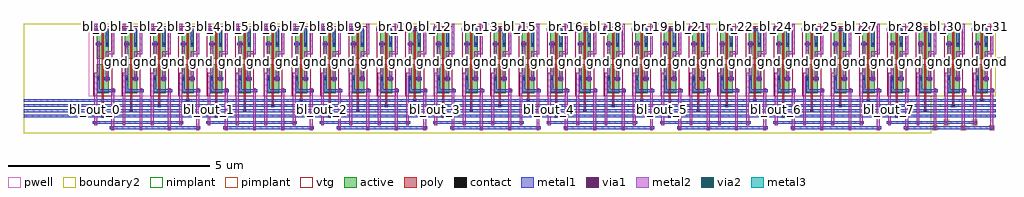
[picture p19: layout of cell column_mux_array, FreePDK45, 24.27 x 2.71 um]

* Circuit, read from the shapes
.subckt column_mux_array bl_0 bl_1 bl_10 bl_11 bl_12 bl_13 bl_14 bl_15 bl_16 bl_17 bl_18 bl_19 bl_2 bl_20 bl_21 bl_22 bl_23 bl_24 bl_25 bl_26 bl_27 bl_28 bl_29 bl_3 bl_30 bl_31 bl_4 bl_5 bl_6 bl_7 bl_8 bl_9 bl_out_0 bl_out_1 bl_out_2 bl_out_3 bl_out_4 bl_out_5 bl_out_6 bl_out_7 br_0 br_1 br_10 br_11 br_12 br_13 br_14 br_15 br_16 br_17 br_18 br_19 br_2 br_20 br_21 br_22 br_23 br_24 br_25 br_26 br_27 br_28 br_29 br_3 br_30 br_31 br_4 br_5 br_6 br_7 br_8 br_9 br_out_0 br_out_1 br_out_2 br_out_3 br_out_4 br_out_5 br_out_6 br_out_7 gnd sel_0 sel_1 sel_2 sel_3
M1 br_0 sel_0 br_out_0 gnd nfet w=0.72u l=0.05u
M2 bl_0 sel_0 bl_out_0 gnd nfet w=0.72u l=0.05u
M3 br_1 sel_1 br_out_0 gnd nfet w=0.72u l=0.05u
M4 bl_1 sel_1 bl_out_0 gnd nfet w=0.72u l=0.05u
M5 br_2 sel_2 br_out_0 gnd nfet w=0.72u l=0.05u
M6 bl_2 sel_2 bl_out_0 gnd nfet w=0.72u l=0.05u
M7 br_3 sel_3 br_out_0 gnd nfet w=0.72u l=0.05u
M8 bl_3 sel_3 bl_out_0 gnd nfet w=0.72u l=0.05u
M9 br_4 sel_0 br_out_1 gnd nfet w=0.72u l=0.05u
M10 bl_4 sel_0 bl_out_1 gnd nfet w=0.72u l=0.05u
M11 br_5 sel_1 br_out_1 gnd nfet w=0.72u l=0.05u
M12 bl_5 sel_1 bl_out_1 gnd nfet w=0.72u l=0.05u
M13 br_6 sel_2 br_out_1 gnd nfet w=0.72u l=0.05u
M14 bl_6 sel_2 bl_out_1 gnd nfet w=0.72u l=0.05u
M15 br_7 sel_3 br_out_1 gnd nfet w=0.72u l=0.05u
M16 bl_7 sel_3 bl_out_1 gnd nfet w=0.72u l=0.05u
M17 br_8 sel_0 br_out_2 gnd nfet w=0.72u l=0.05u
M18 bl_8 sel_0 bl_out_2 gnd nfet w=0.72u l=0.05u
M19 br_9 sel_1 br_out_2 gnd nfet w=0.72u l=0.05u
M20 bl_9 sel_1 bl_out_2 gnd nfet w=0.72u l=0.05u
M21 br_10 sel_2 br_out_2 gnd nfet w=0.72u l=0.05u
M22 bl_10 sel_2 bl_out_2 gnd nfet w=0.72u l=0.05u
M23 br_11 sel_3 br_out_2 gnd nfet w=0.72u l=0.05u
M24 bl_11 sel_3 bl_out_2 gnd nfet w=0.72u l=0.05u
M25 br_12 sel_0 br_out_3 gnd nfet w=0.72u l=0.05u
M26 bl_12 sel_0 bl_out_3 gnd nfet w=0.72u l=0.05u
M27 br_13 sel_1 br_out_3 gnd nfet w=0.72u l=0.05u
M28 bl_13 sel_1 bl_out_3 gnd nfet w=0.72u l=0.05u
M29 br_14 sel_2 br_out_3 gnd nfet w=0.72u l=0.05u
M30 bl_14 sel_2 bl_out_3 gnd nfet w=0.72u l=0.05u
M31 br_15 sel_3 br_out_3 gnd nfet w=0.72u l=0.05u
M32 bl_15 sel_3 bl_out_3 gnd nfet w=0.72u l=0.05u
M33 br_16 sel_0 br_out_4 gnd nfet w=0.72u l=0.05u
M34 bl_16 sel_0 bl_out_4 gnd nfet w=0.72u l=0.05u
M35 br_17 sel_1 br_out_4 gnd nfet w=0.72u l=0.05u
M36 bl_17 sel_1 bl_out_4 gnd nfet w=0.72u l=0.05u
M37 br_18 sel_2 br_out_4 gnd nfet w=0.72u l=0.05u
M38 bl_18 sel_2 bl_out_4 gnd nfet w=0.72u l=0.05u
M39 br_19 sel_3 br_out_4 gnd nfet w=0.72u l=0.05u
M40 bl_19 sel_3 bl_out_4 gnd nfet w=0.72u l=0.05u
M41 br_20 sel_0 br_out_5 gnd nfet w=0.72u l=0.05u
M42 bl_20 sel_0 bl_out_5 gnd nfet w=0.72u l=0.05u
M43 br_21 sel_1 br_out_5 gnd nfet w=0.72u l=0.05u
M44 bl_21 sel_1 bl_out_5 gnd nfet w=0.72u l=0.05u
M45 br_22 sel_2 br_out_5 gnd nfet w=0.72u l=0.05u
M46 bl_22 sel_2 bl_out_5 gnd nfet w=0.72u l=0.05u
M47 br_23 sel_3 br_out_5 gnd nfet w=0.72u l=0.05u
M48 bl_23 sel_3 bl_out_5 gnd nfet w=0.72u l=0.05u
M49 br_24 sel_0 br_out_6 gnd nfet w=0.72u l=0.05u
M50 bl_24 sel_0 bl_out_6 gnd nfet w=0.72u l=0.05u
M51 br_25 sel_1 br_out_6 gnd nfet w=0.72u l=0.05u
M52 bl_25 sel_1 bl_out_6 gnd nfet w=0.72u l=0.05u
M53 br_26 sel_2 br_out_6 gnd nfet w=0.72u l=0.05u
M54 bl_26 sel_2 bl_out_6 gnd nfet w=0.72u l=0.05u
M55 br_27 sel_3 br_out_6 gnd nfet w=0.72u l=0.05u
M56 bl_27 sel_3 bl_out_6 gnd nfet w=0.72u l=0.05u
M57 br_28 sel_0 br_out_7 gnd nfet w=0.72u l=0.05u
M58 bl_28 sel_0 bl_out_7 gnd nfet w=0.72u l=0.05u
M59 br_29 sel_1 br_out_7 gnd nfet w=0.72u l=0.05u
M60 bl_29 sel_1 bl_out_7 gnd nfet w=0.72u l=0.05u
M61 br_30 sel_2 br_out_7 gnd nfet w=0.72u l=0.05u
M62 bl_30 sel_2 bl_out_7 gnd nfet w=0.72u l=0.05u
M63 br_31 sel_3 br_out_7 gnd nfet w=0.72u l=0.05u
M64 bl_31 sel_3 bl_out_7 gnd nfet w=0.72u l=0.05u
.ends

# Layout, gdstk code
import gdstk
lib = gdstk.Library(unit=1e-6, precision=5e-10)
def R(c, l, rs):  # rectangles x0, y0, x1, y1
    for r in rs: c.add(gdstk.rectangle(r[:2], r[2:], *l))
def A(c, l, x, y, w, h, nx, ny, dx, dy):  # array of equal rectangles
    R(c, l, [(x+i*dx, y+j*dy, x+i*dx+w, y+j*dy+h) for i in range(nx) for j in range(ny)])
active = (1, 0)
pwell = (2, 0)
nimplant = (4, 0)
pimplant = (5, 0)
vtg = (6, 0)
poly = (9, 0)
contact = (10, 0)
metal1 = (11, 0)
via1 = (12, 0)
metal2 = (13, 0)
via2 = (14, 0)
metal3 = (15, 0)
boundary2 = (239, 0)

contact_9 = lib.new_cell('contact_9')
R(contact_9, active, [(0,0.0225,0.09,0.1125)])
R(contact_9, pwell, [(-0.055,-0.0325,0.145,0.1675)])
R(contact_9, nimplant, [(0,0.0225,0.09,0.1125)])
R(contact_9, contact, [(0.0125,0.035,0.0775,0.1)])
R(contact_9, metal1, [(0.0125,0,0.0775,0.135)])
R(contact_9, boundary2, [(-0.055,-0.0325,0.145,0.1675)])

nmos_m1_w0_720_sm1_dm1 = lib.new_cell('nmos_m1_w0_720_sm1_dm1')
R(nmos_m1_w0_720_sm1_dm1, active, [(0,0,0.305,0.72)])
R(nmos_m1_w0_720_sm1_dm1, pwell, [(-0.08,-0.08,0.385,0.8)])
R(nmos_m1_w0_720_sm1_dm1, nimplant, [(0,0,0.305,0.72)])
R(nmos_m1_w0_720_sm1_dm1, vtg, [(-0.08,-0.08,0.385,0.8)])
R(nmos_m1_w0_720_sm1_dm1, poly, [(0.1275,-0.055,0.1775,0.775), (0.1275,-0.055,0.1775,0.775)])
R(nmos_m1_w0_720_sm1_dm1, metal1, [(0.0125,0.2925,0.0775,0.4275), (0.2275,0.2925,0.2925,0.4275)])
R(nmos_m1_w0_720_sm1_dm1, boundary2, [(-0.08,-0.08,0.385,0.8)])
nmos_m1_w0_720_sm1_dm1.add(gdstk.Reference(contact_9, (0,0.2925)))
nmos_m1_w0_720_sm1_dm1.add(gdstk.Reference(contact_9, (0.215,0.2925)))
nmos_m1_w0_720_sm1_dm1.add(gdstk.Label('S', (0.045,0.36), layer=11, texttype=0))
nmos_m1_w0_720_sm1_dm1.add(gdstk.Label('D', (0.26,0.36), layer=11, texttype=0))
nmos_m1_w0_720_sm1_dm1.add(gdstk.Label('G', (0.1525,0.36), layer=9, texttype=0))

contact_6 = lib.new_cell('contact_6')
R(contact_6, metal1, [(0,0.035,0.135,0.1)])
R(contact_6, via1, [(0.035,0.035,0.1,0.1)])
R(contact_6, metal2, [(0.0325,0,0.1025,0.135)])
R(contact_6, boundary2, [(0,0,0.135,0.135)])

contact_21 = lib.new_cell('contact_21')
R(contact_21, active, [(0.0225,0,0.1125,0.09)])
R(contact_21, pwell, [(-0.0325,-0.055,0.1675,0.145)])
R(contact_21, pimplant, [(0.0225,0,0.1125,0.09)])
R(contact_21, contact, [(0.035,0.0125,0.1,0.0775)])
R(contact_21, metal1, [(0,0.0125,0.135,0.0775)])
R(contact_21, boundary2, [(-0.0325,-0.055,0.1675,0.145)])

contact_7 = lib.new_cell('contact_7')
R(contact_7, metal2, [(0.035,0,0.105,0.14)])
R(contact_7, via2, [(0.035,0.035,0.105,0.105)])
R(contact_7, metal3, [(0,0.035,0.14,0.105)])
R(contact_7, boundary2, [(0,0,0.14,0.14)])

column_mux = lib.new_cell('column_mux')
R(column_mux, pwell, [(0,0,0.705,1.8)])
R(column_mux, poly, [(0.3275,0.025,0.3775,0.08), (0.3275,0.8,0.3775,0.94)])
R(column_mux, metal1, [(0.2125,0.1075,0.2775,0.1725), (0.245,0.1075,0.6,0.1725), (0.2125,0.14,0.2775,0.44), (0.4275,1.3,0.4925,1.66), (0.14,1.6275,0.46,1.6925), (0.4275,1.6275,0.4925,1.6925)])
A(column_mux, metal2, 0.14, 0.515, 0.07, 0.07, 3, 1, 0.035, 0)
R(column_mux, metal2, [(0.14,0,0.21,0.14), (0.565,0,0.635,0.14), (0.14,0.14,0.21,0.55), (0.425,0.44,0.495,1.085), (0.21,0.55,0.28,1.3), (0.425,1.05,0.495,1.12), (0.46,1.05,0.6,1.12), (0.565,1.05,0.635,1.12), (0.565,1.085,0.635,1.66), (0.14,1.66,0.21,1.8), (0.565,1.66,0.635,1.8)])
R(column_mux, metal3, [(0.635,0.8,0.775,0.94)])
R(column_mux, boundary2, [(0,0,0.705,1.8)])
column_mux.add(gdstk.Reference(nmos_m1_w0_720_sm1_dm1, (0.2,0.08)))
column_mux.add(gdstk.Reference(nmos_m1_w0_720_sm1_dm1, (0.2,0.94)))
column_mux.add(gdstk.Reference(contact_6, (0.1075,1.5925)))
column_mux.add(gdstk.Reference(contact_6, (0.5325,0.0725)))
column_mux.add(gdstk.Reference(contact_6, (0.1775,1.2325)))
column_mux.add(gdstk.Reference(contact_6, (0.3925,0.3725)))
column_mux.add(gdstk.Reference(contact_21, (0.6375,0.825)))
column_mux.add(gdstk.Reference(contact_6, (0.6375,0.8025)))
column_mux.add(gdstk.Reference(contact_6, (0.6375,0.8025)))
column_mux.add(gdstk.Reference(contact_7, (0.635,0.8)))
column_mux.add(gdstk.Label('bl', (0.175,1.73), layer=13, texttype=0))
column_mux.add(gdstk.Label('br', (0.6,1.73), layer=13, texttype=0))
column_mux.add(gdstk.Label('bl_out', (0.175,0.07), layer=13, texttype=0))
column_mux.add(gdstk.Label('br_out', (0.6,0.07), layer=13, texttype=0))
column_mux.add(gdstk.Label('gnd', (0.705,0.87), layer=15, texttype=0))
column_mux.add(gdstk.Label('sel', (0.3525,0.0525), layer=9, texttype=0))

contact_22 = lib.new_cell('contact_22')
R(contact_22, poly, [(0.03,0,0.105,0.075)])
R(contact_22, contact, [(0.035,0.005,0.1,0.07)])
R(contact_22, metal1, [(0,0.005,0.135,0.07)])
R(contact_22, boundary2, [(0,0,0.135,0.075)])

contact_14 = lib.new_cell('contact_14')
R(contact_14, metal1, [(0,0.035,0.135,0.1)])
R(contact_14, via1, [(0.035,0.035,0.1,0.1)])
R(contact_14, metal2, [(0.0325,0,0.1025,0.135)])
R(contact_14, boundary2, [(0,0,0.135,0.135)])

column_mux_array = lib.new_cell('column_mux_array')
R(column_mux_array, pwell, [(1.605,0.91,24.165,2.71)])
A(column_mux_array, poly, 1.9325, 0.4225, 0.05, 0.5125, 8, 1, 2.82, 0)
A(column_mux_array, poly, 2.6375, 0.5525, 0.05, 0.3825, 8, 1, 2.82, 0)
A(column_mux_array, poly, 3.3425, 0.6825, 0.05, 0.2525, 8, 1, 2.82, 0)
A(column_mux_array, poly, 4.0475, 0.8125, 0.05, 0.1225, 8, 1, 2.82, 0)
A(column_mux_array, metal1, 2.205, 0.0975, 2.115, 0.065, 8, 1, 2.82, 0)
A(column_mux_array, metal1, 1.78, 0.2275, 2.115, 0.065, 8, 1, 2.82, 0)
A(column_mux_array, metal1, 0, 0.39, 24.165, 0.065, 1, 4, 0, 0.13)
A(column_mux_array, metal2, 2.17, 0.13, 0.07, 0.78, 32, 1, 0.705, 0)
A(column_mux_array, metal2, 1.745, 0.26, 0.07, 0.65, 32, 1, 0.705, 0)
R(column_mux_array, metal2, [(1.745,2.57,1.815,2.71), (2.17,2.57,2.24,2.71), (2.45,2.57,2.52,2.71), (2.875,2.57,2.945,2.71), (3.155,2.57,3.225,2.71), (3.58,2.57,3.65,2.71), (3.86,2.57,3.93,2.71), (4.285,2.57,4.355,2.71), (4.565,2.57,4.635,2.71), (4.99,2.57,5.06,2.71), (5.27,2.57,5.34,2.71), (5.695,2.57,5.765,2.71), (5.975,2.57,6.045,2.71), (6.4,2.57,6.47,2.71), (6.68,2.57,6.75,2.71), (7.105,2.57,7.175,2.71), (7.385,2.57,7.455,2.71), (7.81,2.57,7.88,2.71), (8.09,2.57,8.16,2.71), (8.515,2.57,8.585,2.71), (8.795,2.57,8.865,2.71), (9.22,2.57,9.29,2.71), (9.5,2.57,9.57,2.71), (9.925,2.57,9.995,2.71), (10.205,2.57,10.275,2.71), (10.63,2.57,10.7,2.71), (10.91,2.57,10.98,2.71), (11.335,2.57,11.405,2.71), (11.615,2.57,11.685,2.71), (12.04,2.57,12.11,2.71), (12.32,2.57,12.39,2.71), (12.745,2.57,12.815,2.71), (13.025,2.57,13.095,2.71), (13.45,2.57,13.52,2.71), (13.73,2.57,13.8,2.71), (14.155,2.57,14.225,2.71), (14.435,2.57,14.505,2.71), (14.86,2.57,14.93,2.71), (15.14,2.57,15.21,2.71), (15.565,2.57,15.635,2.71), (15.845,2.57,15.915,2.71), (16.27,2.57,16.34,2.71), (16.55,2.57,16.62,2.71), (16.975,2.57,17.045,2.71), (17.255,2.57,17.325,2.71), (17.68,2.57,17.75,2.71), (17.96,2.57,18.03,2.71), (18.385,2.57,18.455,2.71), (18.665,2.57,18.735,2.71), (19.09,2.57,19.16,2.71), (19.37,2.57,19.44,2.71), (19.795,2.57,19.865,2.71), (20.075,2.57,20.145,2.71), (20.5,2.57,20.57,2.71), (20.78,2.57,20.85,2.71), (21.205,2.57,21.275,2.71), (21.485,2.57,21.555,2.71), (21.91,2.57,21.98,2.71), (22.19,2.57,22.26,2.71), (22.615,2.57,22.685,2.71), (22.895,2.57,22.965,2.71), (23.32,2.57,23.39,2.71), (23.6,2.57,23.67,2.71), (24.025,2.57,24.095,2.71)])
A(column_mux_array, metal3, 2.24, 1.71, 0.14, 0.14, 32, 1, 0.705, 0)
R(column_mux_array, boundary2, [(0,0,22.56,2.71)])
column_mux_array.add(gdstk.Reference(column_mux, (12.18,0.91)))
column_mux_array.add(gdstk.Reference(column_mux, (12.885,0.91)))
column_mux_array.add(gdstk.Reference(column_mux, (13.59,0.91)))
column_mux_array.add(gdstk.Reference(column_mux, (14.295,0.91)))
column_mux_array.add(gdstk.Reference(column_mux, (15,0.91)))
column_mux_array.add(gdstk.Reference(column_mux, (15.705,0.91)))
column_mux_array.add(gdstk.Reference(column_mux, (16.41,0.91)))
column_mux_array.add(gdstk.Reference(column_mux, (17.115,0.91)))
column_mux_array.add(gdstk.Reference(column_mux, (17.82,0.91)))
column_mux_array.add(gdstk.Reference(column_mux, (18.525,0.91)))
column_mux_array.add(gdstk.Reference(column_mux, (19.23,0.91)))
column_mux_array.add(gdstk.Reference(column_mux, (19.935,0.91)))
column_mux_array.add(gdstk.Reference(column_mux, (20.64,0.91)))
column_mux_array.add(gdstk.Reference(column_mux, (21.345,0.91)))
column_mux_array.add(gdstk.Reference(column_mux, (22.05,0.91)))
column_mux_array.add(gdstk.Reference(column_mux, (22.755,0.91)))
column_mux_array.add(gdstk.Reference(column_mux, (23.46,0.91)))
column_mux_array.add(gdstk.Reference(contact_22, (13.17,0.385)))
column_mux_array.add(gdstk.Reference(contact_22, (13.875,0.515)))
column_mux_array.add(gdstk.Reference(contact_22, (14.58,0.645)))
column_mux_array.add(gdstk.Reference(contact_22, (15.285,0.775)))
column_mux_array.add(gdstk.Reference(contact_22, (15.99,0.385)))
column_mux_array.add(gdstk.Reference(contact_22, (16.695,0.515)))
column_mux_array.add(gdstk.Reference(contact_22, (17.4,0.645)))
column_mux_array.add(gdstk.Reference(contact_22, (18.105,0.775)))
column_mux_array.add(gdstk.Reference(contact_22, (18.81,0.385)))
column_mux_array.add(gdstk.Reference(contact_22, (19.515,0.515)))
column_mux_array.add(gdstk.Reference(contact_22, (20.22,0.645)))
column_mux_array.add(gdstk.Reference(contact_22, (20.925,0.775)))
column_mux_array.add(gdstk.Reference(contact_22, (21.63,0.385)))
column_mux_array.add(gdstk.Reference(contact_22, (22.335,0.515)))
column_mux_array.add(gdstk.Reference(contact_22, (23.04,0.645)))
column_mux_array.add(gdstk.Reference(contact_22, (23.745,0.775)))
column_mux_array.add(gdstk.Reference(contact_14, (12.9925,0.1925)))
column_mux_array.add(gdstk.Reference(contact_14, (13.4175,0.0625)))
column_mux_array.add(gdstk.Reference(contact_14, (13.6975,0.1925)))
column_mux_array.add(gdstk.Reference(contact_14, (14.1225,0.0625)))
column_mux_array.add(gdstk.Reference(contact_14, (14.4025,0.1925)))
column_mux_array.add(gdstk.Reference(contact_14, (14.8275,0.0625)))
column_mux_array.add(gdstk.Reference(contact_14, (15.1075,0.1925)))
column_mux_array.add(gdstk.Reference(contact_14, (15.5325,0.0625)))
column_mux_array.add(gdstk.Reference(contact_14, (15.8125,0.1925)))
column_mux_array.add(gdstk.Reference(contact_14, (16.2375,0.0625)))
column_mux_array.add(gdstk.Reference(contact_14, (16.5175,0.1925)))
column_mux_array.add(gdstk.Reference(contact_14, (16.9425,0.0625)))
column_mux_array.add(gdstk.Reference(contact_14, (17.2225,0.1925)))
column_mux_array.add(gdstk.Reference(contact_14, (17.6475,0.0625)))
column_mux_array.add(gdstk.Reference(contact_14, (17.9275,0.1925)))
column_mux_array.add(gdstk.Reference(contact_14, (18.3525,0.0625)))
column_mux_array.add(gdstk.Reference(contact_14, (18.6325,0.1925)))
column_mux_array.add(gdstk.Reference(contact_14, (19.0575,0.0625)))
column_mux_array.add(gdstk.Reference(contact_14, (19.3375,0.1925)))
column_mux_array.add(gdstk.Reference(contact_14, (19.7625,0.0625)))
column_mux_array.add(gdstk.Reference(contact_14, (20.0425,0.1925)))
column_mux_array.add(gdstk.Reference(contact_14, (20.4675,0.0625)))
column_mux_array.add(gdstk.Reference(contact_14, (20.7475,0.1925)))
column_mux_array.add(gdstk.Reference(contact_14, (21.1725,0.0625)))
column_mux_array.add(gdstk.Reference(contact_14, (21.4525,0.1925)))
column_mux_array.add(gdstk.Reference(contact_14, (21.8775,0.0625)))
column_mux_array.add(gdstk.Reference(contact_14, (22.1575,0.1925)))
column_mux_array.add(gdstk.Reference(contact_14, (22.5825,0.0625)))
column_mux_array.add(gdstk.Reference(contact_14, (22.8625,0.1925)))
column_mux_array.add(gdstk.Reference(contact_14, (23.2875,0.0625)))
column_mux_array.add(gdstk.Reference(contact_14, (23.5675,0.1925)))
column_mux_array.add(gdstk.Reference(contact_14, (23.9925,0.0625)))
column_mux_array.add(gdstk.Reference(contact_14, (2.1375,0.0625)))
column_mux_array.add(gdstk.Reference(contact_14, (2.4175,0.1925)))
column_mux_array.add(gdstk.Reference(contact_14, (2.8425,0.0625)))
column_mux_array.add(gdstk.Reference(contact_14, (3.1225,0.1925)))
column_mux_array.add(gdstk.Reference(contact_14, (3.5475,0.0625)))
column_mux_array.add(gdstk.Reference(contact_14, (3.8275,0.1925)))
column_mux_array.add(gdstk.Reference(contact_14, (4.2525,0.0625)))
column_mux_array.add(gdstk.Reference(contact_14, (4.5325,0.1925)))
column_mux_array.add(gdstk.Reference(contact_14, (4.9575,0.0625)))
column_mux_array.add(gdstk.Reference(contact_14, (5.2375,0.1925)))
column_mux_array.add(gdstk.Reference(contact_14, (5.6625,0.0625)))
column_mux_array.add(gdstk.Reference(contact_14, (5.9425,0.1925)))
column_mux_array.add(gdstk.Reference(contact_14, (6.3675,0.0625)))
column_mux_array.add(gdstk.Reference(contact_14, (6.6475,0.1925)))
column_mux_array.add(gdstk.Reference(contact_14, (7.0725,0.0625)))
column_mux_array.add(gdstk.Reference(contact_14, (7.3525,0.1925)))
column_mux_array.add(gdstk.Reference(contact_14, (7.7775,0.0625)))
column_mux_array.add(gdstk.Reference(contact_14, (8.0575,0.1925)))
column_mux_array.add(gdstk.Reference(contact_14, (8.4825,0.0625)))
column_mux_array.add(gdstk.Reference(contact_14, (8.7625,0.1925)))
column_mux_array.add(gdstk.Reference(contact_14, (9.1875,0.0625)))
column_mux_array.add(gdstk.Reference(contact_14, (9.4675,0.1925)))
column_mux_array.add(gdstk.Reference(contact_14, (9.8925,0.0625)))
column_mux_array.add(gdstk.Reference(contact_14, (10.1725,0.1925)))
column_mux_array.add(gdstk.Reference(contact_14, (10.5975,0.0625)))
column_mux_array.add(gdstk.Reference(contact_14, (10.8775,0.1925)))
column_mux_array.add(gdstk.Reference(contact_14, (11.3025,0.0625)))
column_mux_array.add(gdstk.Reference(contact_14, (11.5825,0.1925)))
column_mux_array.add(gdstk.Reference(contact_14, (12.0075,0.0625)))
column_mux_array.add(gdstk.Reference(contact_14, (12.2875,0.1925)))
column_mux_array.add(gdstk.Reference(contact_14, (12.7125,0.0625)))
column_mux_array.add(gdstk.Reference(contact_22, (2.595,0.515)))
column_mux_array.add(gdstk.Reference(contact_22, (3.3,0.645)))
column_mux_array.add(gdstk.Reference(contact_22, (4.005,0.775)))
column_mux_array.add(gdstk.Reference(contact_22, (4.71,0.385)))
column_mux_array.add(gdstk.Reference(contact_22, (5.415,0.515)))
column_mux_array.add(gdstk.Reference(contact_22, (6.12,0.645)))
column_mux_array.add(gdstk.Reference(contact_22, (6.825,0.775)))
column_mux_array.add(gdstk.Reference(contact_22, (7.53,0.385)))
column_mux_array.add(gdstk.Reference(contact_22, (8.235,0.515)))
column_mux_array.add(gdstk.Reference(contact_22, (8.94,0.645)))
column_mux_array.add(gdstk.Reference(contact_22, (9.645,0.775)))
column_mux_array.add(gdstk.Reference(contact_22, (10.35,0.385)))
column_mux_array.add(gdstk.Reference(contact_22, (11.055,0.515)))
column_mux_array.add(gdstk.Reference(contact_22, (11.76,0.645)))
column_mux_array.add(gdstk.Reference(contact_22, (12.465,0.775)))
column_mux_array.add(gdstk.Reference(column_mux, (3.015,0.91)))
column_mux_array.add(gdstk.Reference(column_mux, (3.72,0.91)))
column_mux_array.add(gdstk.Reference(column_mux, (4.425,0.91)))
column_mux_array.add(gdstk.Reference(column_mux, (5.13,0.91)))
column_mux_array.add(gdstk.Reference(column_mux, (5.835,0.91)))
column_mux_array.add(gdstk.Reference(column_mux, (6.54,0.91)))
column_mux_array.add(gdstk.Reference(column_mux, (7.245,0.91)))
column_mux_array.add(gdstk.Reference(column_mux, (7.95,0.91)))
column_mux_array.add(gdstk.Reference(column_mux, (8.655,0.91)))
column_mux_array.add(gdstk.Reference(column_mux, (9.36,0.91)))
column_mux_array.add(gdstk.Reference(column_mux, (10.065,0.91)))
column_mux_array.add(gdstk.Reference(column_mux, (10.77,0.91)))
column_mux_array.add(gdstk.Reference(column_mux, (11.475,0.91)))
column_mux_array.add(gdstk.Reference(column_mux, (1.605,0.91)))
column_mux_array.add(gdstk.Reference(column_mux, (2.31,0.91)))
column_mux_array.add(gdstk.Reference(contact_22, (1.89,0.385)))
column_mux_array.add(gdstk.Reference(contact_14, (1.7125,0.1925)))
column_mux_array.add(gdstk.Label('bl_out_0', (1.78,0.585), layer=13, texttype=0))
column_mux_array.add(gdstk.Label('br_out_0', (2.205,0.52), layer=13, texttype=0))
column_mux_array.add(gdstk.Label('bl_out_1', (4.6,0.585), layer=13, texttype=0))
column_mux_array.add(gdstk.Label('br_out_1', (5.025,0.52), layer=13, texttype=0))
column_mux_array.add(gdstk.Label('bl_out_2', (7.42,0.585), layer=13, texttype=0))
column_mux_array.add(gdstk.Label('br_out_2', (7.845,0.52), layer=13, texttype=0))
column_mux_array.add(gdstk.Label('bl_out_3', (10.24,0.585), layer=13, texttype=0))
column_mux_array.add(gdstk.Label('br_out_3', (10.665,0.52), layer=13, texttype=0))
column_mux_array.add(gdstk.Label('bl_out_4', (13.06,0.585), layer=13, texttype=0))
column_mux_array.add(gdstk.Label('br_out_4', (13.485,0.52), layer=13, texttype=0))
column_mux_array.add(gdstk.Label('bl_out_5', (15.88,0.585), layer=13, texttype=0))
column_mux_array.add(gdstk.Label('br_out_5', (16.305,0.52), layer=13, texttype=0))
column_mux_array.add(gdstk.Label('bl_out_6', (18.7,0.585), layer=13, texttype=0))
column_mux_array.add(gdstk.Label('br_out_6', (19.125,0.52), layer=13, texttype=0))
column_mux_array.add(gdstk.Label('bl_out_7', (21.52,0.585), layer=13, texttype=0))
column_mux_array.add(gdstk.Label('br_out_7', (21.945,0.52), layer=13, texttype=0))
column_mux_array.add(gdstk.Label('bl_0', (1.78,2.64), layer=13, texttype=0))
column_mux_array.add(gdstk.Label('br_0', (2.205,2.64), layer=13, texttype=0))
column_mux_array.add(gdstk.Label('bl_1', (2.485,2.64), layer=13, texttype=0))
column_mux_array.add(gdstk.Label('br_1', (2.91,2.64), layer=13, texttype=0))
column_mux_array.add(gdstk.Label('bl_2', (3.19,2.64), layer=13, texttype=0))
column_mux_array.add(gdstk.Label('br_2', (3.615,2.64), layer=13, texttype=0))
column_mux_array.add(gdstk.Label('bl_3', (3.895,2.64), layer=13, texttype=0))
column_mux_array.add(gdstk.Label('br_3', (4.32,2.64), layer=13, texttype=0))
column_mux_array.add(gdstk.Label('bl_4', (4.6,2.64), layer=13, texttype=0))
column_mux_array.add(gdstk.Label('br_4', (5.025,2.64), layer=13, texttype=0))
column_mux_array.add(gdstk.Label('bl_5', (5.305,2.64), layer=13, texttype=0))
column_mux_array.add(gdstk.Label('br_5', (5.73,2.64), layer=13, texttype=0))
column_mux_array.add(gdstk.Label('bl_6', (6.01,2.64), layer=13, texttype=0))
column_mux_array.add(gdstk.Label('br_6', (6.435,2.64), layer=13, texttype=0))
column_mux_array.add(gdstk.Label('bl_7', (6.715,2.64), layer=13, texttype=0))
column_mux_array.add(gdstk.Label('br_7', (7.14,2.64), layer=13, texttype=0))
column_mux_array.add(gdstk.Label('bl_8', (7.42,2.64), layer=13, texttype=0))
column_mux_array.add(gdstk.Label('br_8', (7.845,2.64), layer=13, texttype=0))
column_mux_array.add(gdstk.Label('bl_9', (8.125,2.64), layer=13, texttype=0))
column_mux_array.add(gdstk.Label('br_9', (8.55,2.64), layer=13, texttype=0))
column_mux_array.add(gdstk.Label('bl_10', (8.83,2.64), layer=13, texttype=0))
column_mux_array.add(gdstk.Label('br_10', (9.255,2.64), layer=13, texttype=0))
column_mux_array.add(gdstk.Label('bl_11', (9.535,2.64), layer=13, texttype=0))
column_mux_array.add(gdstk.Label('br_11', (9.96,2.64), layer=13, texttype=0))
column_mux_array.add(gdstk.Label('bl_12', (10.24,2.64), layer=13, texttype=0))
column_mux_array.add(gdstk.Label('br_12', (10.665,2.64), layer=13, texttype=0))
column_mux_array.add(gdstk.Label('bl_13', (10.945,2.64), layer=13, texttype=0))
column_mux_array.add(gdstk.Label('br_13', (11.37,2.64), layer=13, texttype=0))
column_mux_array.add(gdstk.Label('bl_14', (11.65,2.64), layer=13, texttype=0))
column_mux_array.add(gdstk.Label('br_14', (12.075,2.64), layer=13, texttype=0))
column_mux_array.add(gdstk.Label('bl_15', (12.355,2.64), layer=13, texttype=0))
column_mux_array.add(gdstk.Label('br_15', (12.78,2.64), layer=13, texttype=0))
column_mux_array.add(gdstk.Label('bl_16', (13.06,2.64), layer=13, texttype=0))
column_mux_array.add(gdstk.Label('br_16', (13.485,2.64), layer=13, texttype=0))
column_mux_array.add(gdstk.Label('bl_17', (13.765,2.64), layer=13, texttype=0))
column_mux_array.add(gdstk.Label('br_17', (14.19,2.64), layer=13, texttype=0))
column_mux_array.add(gdstk.Label('bl_18', (14.47,2.64), layer=13, texttype=0))
column_mux_array.add(gdstk.Label('br_18', (14.895,2.64), layer=13, texttype=0))
column_mux_array.add(gdstk.Label('bl_19', (15.175,2.64), layer=13, texttype=0))
column_mux_array.add(gdstk.Label('br_19', (15.6,2.64), layer=13, texttype=0))
column_mux_array.add(gdstk.Label('bl_20', (15.88,2.64), layer=13, texttype=0))
column_mux_array.add(gdstk.Label('br_20', (16.305,2.64), layer=13, texttype=0))
column_mux_array.add(gdstk.Label('bl_21', (16.585,2.64), layer=13, texttype=0))
column_mux_array.add(gdstk.Label('br_21', (17.01,2.64), layer=13, texttype=0))
column_mux_array.add(gdstk.Label('bl_22', (17.29,2.64), layer=13, texttype=0))
column_mux_array.add(gdstk.Label('br_22', (17.715,2.64), layer=13, texttype=0))
column_mux_array.add(gdstk.Label('bl_23', (17.995,2.64), layer=13, texttype=0))
column_mux_array.add(gdstk.Label('br_23', (18.42,2.64), layer=13, texttype=0))
column_mux_array.add(gdstk.Label('bl_24', (18.7,2.64), layer=13, texttype=0))
column_mux_array.add(gdstk.Label('br_24', (19.125,2.64), layer=13, texttype=0))
column_mux_array.add(gdstk.Label('bl_25', (19.405,2.64), layer=13, texttype=0))
column_mux_array.add(gdstk.Label('br_25', (19.83,2.64), layer=13, texttype=0))
column_mux_array.add(gdstk.Label('bl_26', (20.11,2.64), layer=13, texttype=0))
column_mux_array.add(gdstk.Label('br_26', (20.535,2.64), layer=13, texttype=0))
column_mux_array.add(gdstk.Label('bl_27', (20.815,2.64), layer=13, texttype=0))
column_mux_array.add(gdstk.Label('br_27', (21.24,2.64), layer=13, texttype=0))
column_mux_array.add(gdstk.Label('bl_28', (21.52,2.64), layer=13, texttype=0))
column_mux_array.add(gdstk.Label('br_28', (21.945,2.64), layer=13, texttype=0))
column_mux_array.add(gdstk.Label('bl_29', (22.225,2.64), layer=13, texttype=0))
column_mux_array.add(gdstk.Label('br_29', (22.65,2.64), layer=13, texttype=0))
column_mux_array.add(gdstk.Label('bl_30', (22.93,2.64), layer=13, texttype=0))
column_mux_array.add(gdstk.Label('br_30', (23.355,2.64), layer=13, texttype=0))
column_mux_array.add(gdstk.Label('bl_31', (23.635,2.64), layer=13, texttype=0))
column_mux_array.add(gdstk.Label('br_31', (24.06,2.64), layer=13, texttype=0))
column_mux_array.add(gdstk.Label('gnd', (3.015,1.78), layer=15, texttype=0))
column_mux_array.add(gdstk.Label('gnd', (12.885,1.78), layer=15, texttype=0))
column_mux_array.add(gdstk.Label('gnd', (10.065,1.78), layer=15, texttype=0))
column_mux_array.add(gdstk.Label('gnd', (16.41,1.78), layer=15, texttype=0))
column_mux_array.add(gdstk.Label('gnd', (2.31,1.78), layer=15, texttype=0))
column_mux_array.add(gdstk.Label('gnd', (9.36,1.78), layer=15, texttype=0))
column_mux_array.add(gdstk.Label('gnd', (20.64,1.78), layer=15, texttype=0))
column_mux_array.add(gdstk.Label('gnd', (7.95,1.78), layer=15, texttype=0))
column_mux_array.add(gdstk.Label('gnd', (10.77,1.78), layer=15, texttype=0))
column_mux_array.add(gdstk.Label('gnd', (18.525,1.78), layer=15, texttype=0))
column_mux_array.add(gdstk.Label('gnd', (19.23,1.78), layer=15, texttype=0))
column_mux_array.add(gdstk.Label('gnd', (6.54,1.78), layer=15, texttype=0))
column_mux_array.add(gdstk.Label('gnd', (5.835,1.78), layer=15, texttype=0))
column_mux_array.add(gdstk.Label('gnd', (15,1.78), layer=15, texttype=0))
column_mux_array.add(gdstk.Label('gnd', (22.755,1.78), layer=15, texttype=0))
column_mux_array.add(gdstk.Label('gnd', (22.05,1.78), layer=15, texttype=0))
column_mux_array.add(gdstk.Label('gnd', (15.705,1.78), layer=15, texttype=0))
column_mux_array.add(gdstk.Label('gnd', (13.59,1.78), layer=15, texttype=0))
column_mux_array.add(gdstk.Label('gnd', (5.13,1.78), layer=15, texttype=0))
column_mux_array.add(gdstk.Label('gnd', (12.18,1.78), layer=15, texttype=0))
column_mux_array.add(gdstk.Label('gnd', (14.295,1.78), layer=15, texttype=0))
column_mux_array.add(gdstk.Label('gnd', (21.345,1.78), layer=15, texttype=0))
column_mux_array.add(gdstk.Label('gnd', (23.46,1.78), layer=15, texttype=0))
column_mux_array.add(gdstk.Label('gnd', (24.165,1.78), layer=15, texttype=0))
column_mux_array.add(gdstk.Label('gnd', (11.475,1.78), layer=15, texttype=0))
column_mux_array.add(gdstk.Label('gnd', (8.655,1.78), layer=15, texttype=0))
column_mux_array.add(gdstk.Label('gnd', (4.425,1.78), layer=15, texttype=0))
column_mux_array.add(gdstk.Label('gnd', (17.82,1.78), layer=15, texttype=0))
column_mux_array.add(gdstk.Label('gnd', (7.245,1.78), layer=15, texttype=0))
column_mux_array.add(gdstk.Label('gnd', (19.935,1.78), layer=15, texttype=0))
column_mux_array.add(gdstk.Label('gnd', (17.115,1.78), layer=15, texttype=0))
column_mux_array.add(gdstk.Label('gnd', (3.72,1.78), layer=15, texttype=0))
column_mux_array.add(gdstk.Label('sel_0', (12.0825,0.4225), layer=11, texttype=0))
column_mux_array.add(gdstk.Label('sel_1', (12.0825,0.5525), layer=11, texttype=0))
column_mux_array.add(gdstk.Label('sel_2', (12.0825,0.6825), layer=11, texttype=0))
column_mux_array.add(gdstk.Label('sel_3', (12.0825,0.8125), layer=11, texttype=0))

lib.write_gds('column_mux_array.gds')
